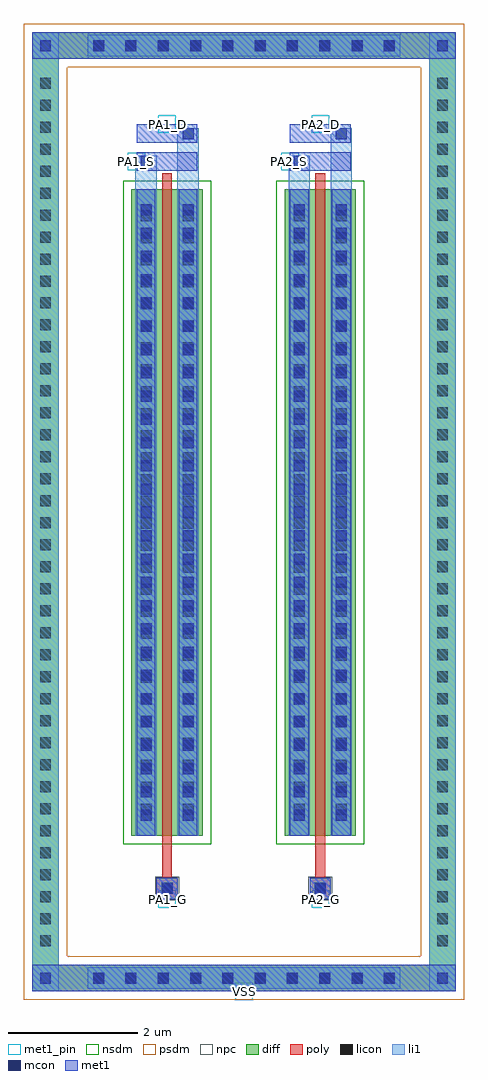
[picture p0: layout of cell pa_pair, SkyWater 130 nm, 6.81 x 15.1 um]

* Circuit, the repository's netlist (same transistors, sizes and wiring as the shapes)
.subckt pa_pair PA1_D PA1_G PA1_S PA2_D PA2_G PA2_S VSS
XPA1 PA1_D PA1_G PA1_S VSS sky130_fd_pr__nfet_01v8 W=10.0 L=0.15 nf=1 m=1
XPA2 PA2_D PA2_G PA2_S VSS sky130_fd_pr__nfet_01v8 W=10.0 L=0.15 nf=1 m=1
.ends pa_pair

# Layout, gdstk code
import gdstk
lib = gdstk.Library(unit=1e-6, precision=5e-09)
def R(c, l, rs):  # rectangles x0, y0, x1, y1
    for r in rs: c.add(gdstk.rectangle(r[:2], r[2:], *l))
def A(c, l, x, y, w, h, nx, ny, dx, dy):  # array of equal rectangles
    R(c, l, [(x+i*dx, y+j*dy, x+i*dx+w, y+j*dy+h) for i in range(nx) for j in range(ny)])
def P(c, l, *ps):  # polygons
    for p in ps: c.add(gdstk.Polygon(p, *l))
diff = (65, 20)
poly = (66, 20)
licon = (66, 44)
li1 = (67, 20)
mcon = (67, 44)
met1_pin = (68, 16)
met1 = (68, 20)
nsdm = (93, 44)
psdm = (94, 20)
npc = (95, 20)

pa_pair = lib.new_cell('pa_pair')
A(pa_pair, diff, -0.585, -7.405, 0.41, 0.41, 10, 2, 0.5, 14.42)
A(pa_pair, diff, -1.405, -6.825, 0.41, 0.41, 1, 40, 0, 0.34)
A(pa_pair, diff, 4.735, -6.825, 0.41, 0.41, 1, 40, 0, 0.34)
R(pa_pair, diff, [(-0.585,-7.405,4.325,-6.995), (-1.405,-6.825,-0.995,6.845), (4.735,-6.825,5.145,6.845), (0.13,-5,1.23,5), (2.5,-5,3.6,5), (-0.585,7.015,4.325,7.425)])
P(pa_pair, diff, [(5.145,7.425),(-1.405,7.425),(-1.405,-6.995),(-0.995,-6.995),(-0.995,7.015),(4.735,7.015),(4.735,-6.995),(-0.995,-6.995),(-1.405,-6.995),(-1.405,-7.405),(5.145,-7.405)])
R(pa_pair, poly, [(0.515,-5.98,0.845,-5.65), (0.515,-5.98,0.845,-5.65), (2.885,-5.98,3.215,-5.65), (2.885,-5.98,3.215,-5.65), (0.605,-5.65,0.755,-5.25), (2.975,-5.65,3.125,-5.25), (0.605,-5.25,0.755,5.25), (2.975,-5.25,3.125,5.25)])
A(pa_pair, licon, -0.465, -7.285, 0.17, 0.17, 10, 2, 0.5, 14.42)
A(pa_pair, licon, -1.285, -6.705, 0.17, 0.17, 1, 40, 0, 0.34)
A(pa_pair, licon, 4.855, -6.705, 0.17, 0.17, 1, 40, 0, 0.34)
A(pa_pair, licon, 0.27, -4.675, 0.17, 0.17, 1, 28, 0, 0.34)
A(pa_pair, licon, 0.92, -4.675, 0.17, 0.17, 1, 28, 0, 0.34)
A(pa_pair, licon, 2.64, -4.675, 0.17, 0.17, 1, 28, 0, 0.34)
A(pa_pair, licon, 3.29, -4.675, 0.17, 0.17, 1, 28, 0, 0.34)
R(pa_pair, licon, [(0.595,-5.9,0.765,-5.73), (2.965,-5.9,3.135,-5.73)])
A(pa_pair, li1, -0.545, -7.365, 0.33, 0.33, 10, 2, 0.5, 14.42)
A(pa_pair, li1, -1.365, -6.785, 0.33, 0.33, 1, 40, 0, 0.34)
A(pa_pair, li1, 4.775, -6.785, 0.33, 0.33, 1, 40, 0, 0.34)
A(pa_pair, li1, 0.27, -4.765, 0.17, 0.17, 1, 27, 0, 0.36)
A(pa_pair, li1, 0.92, -4.765, 0.17, 0.17, 1, 27, 0, 0.36)
A(pa_pair, li1, 2.64, -4.765, 0.17, 0.17, 1, 27, 0, 0.36)
A(pa_pair, li1, 3.29, -4.765, 0.17, 0.17, 1, 27, 0, 0.36)
A(pa_pair, li1, 0.19, -4.755, 0.33, 0.33, 1, 28, 0, 0.34)
A(pa_pair, li1, 0.84, -4.755, 0.33, 0.33, 1, 28, 0, 0.34)
A(pa_pair, li1, 2.56, -4.755, 0.33, 0.33, 1, 28, 0, 0.34)
A(pa_pair, li1, 3.21, -4.755, 0.33, 0.33, 1, 28, 0, 0.34)
R(pa_pair, li1, [(-1.405,-7.405,-0.995,-6.995), (4.735,-7.405,5.145,-6.995), (-0.545,-7.365,4.285,-7.035), (-1.285,-7.285,-1.115,-7.115), (-1.285,-7.285,-1.115,-7.115), (4.855,-7.285,5.025,-7.115), (4.855,-7.285,5.025,-7.115), (-1.405,-6.995,-0.995,7.015), (4.735,-6.995,5.145,7.015), (0.515,-5.98,0.845,-5.65), (2.885,-5.98,3.215,-5.65), (0.19,-5,0.52,5), (0.84,-5,1.17,5), (2.56,-5,2.89,5), (3.21,-5,3.54,5), (0.27,-4.765,0.44,4.765), (0.92,-4.765,1.09,4.765), (2.64,-4.765,2.81,4.765), (3.29,-4.765,3.46,4.765), (0.19,5,0.52,5.515), (0.84,5,1.17,5.945), (2.56,5,2.89,5.515), (3.21,5,3.54,5.945), (0.27,5.345,0.44,5.515), (2.64,5.345,2.81,5.515), (0.92,5.775,1.09,5.945), (3.29,5.775,3.46,5.945), (-1.405,7.015,-0.995,7.425), (4.735,7.015,5.145,7.425), (-0.545,7.055,4.285,7.385), (-1.285,7.135,-1.115,7.305), (-1.285,7.135,-1.115,7.305), (4.855,7.135,5.025,7.305), (4.855,7.135,5.025,7.305)])
A(pa_pair, mcon, -0.465, -7.285, 0.17, 0.17, 10, 2, 0.5, 14.42)
A(pa_pair, mcon, 0.27, -4.765, 0.17, 0.17, 1, 27, 0, 0.36)
A(pa_pair, mcon, 0.92, -4.765, 0.17, 0.17, 1, 27, 0, 0.36)
A(pa_pair, mcon, 2.64, -4.765, 0.17, 0.17, 1, 27, 0, 0.36)
A(pa_pair, mcon, 3.29, -4.765, 0.17, 0.17, 1, 27, 0, 0.36)
R(pa_pair, mcon, [(-1.285,-7.285,-1.115,-7.115), (4.855,-7.285,5.025,-7.115), (0.595,-5.9,0.765,-5.73), (2.965,-5.9,3.135,-5.73), (0.27,5.345,0.44,5.515), (2.64,5.345,2.81,5.515), (0.92,5.775,1.09,5.945), (3.29,5.775,3.46,5.945), (-1.285,7.135,-1.115,7.305), (4.855,7.135,5.025,7.305)])
R(pa_pair, met1_pin, [(1.735,-7.54,2.005,-7.27), (0.545,-6.115,0.815,-5.845), (2.915,-6.115,3.185,-5.845), (0.075,5.295,0.345,5.565), (2.445,5.295,2.715,5.565), (0.545,5.87,0.815,6.14), (2.915,5.87,3.185,6.14)])
A(pa_pair, met1, -0.525, -7.345, 0.29, 0.29, 10, 2, 0.5, 14.42)
A(pa_pair, met1, 0.21, -4.825, 0.29, 0.29, 1, 27, 0, 0.36)
A(pa_pair, met1, 0.86, -4.825, 0.29, 0.29, 1, 27, 0, 0.36)
A(pa_pair, met1, 2.58, -4.825, 0.29, 0.29, 1, 27, 0, 0.36)
A(pa_pair, met1, 3.23, -4.825, 0.29, 0.29, 1, 27, 0, 0.36)
R(pa_pair, met1, [(-1.405,-7.405,-0.995,-6.995), (-1.405,-7.405,-0.995,-6.995), (-0.995,-7.405,4.735,-6.995), (4.735,-7.405,5.145,-6.995), (4.735,-7.405,5.145,-6.995), (-1.345,-7.345,-1.055,-7.055), (4.795,-7.345,5.085,-7.055), (0.515,-5.98,0.845,-5.65), (2.885,-5.98,3.215,-5.65), (0.535,-5.96,0.825,-5.67), (2.905,-5.96,3.195,-5.67), (0.21,-5,0.5,5), (0.86,-5,1.15,5), (2.58,-5,2.87,5), (3.23,-5,3.52,5), (0.21,5.285,0.5,5.575), (0.21,5.285,1.15,5.575), (2.58,5.285,2.87,5.575), (2.58,5.285,3.52,5.575), (0.21,5.715,1.15,6.005), (0.86,5.715,1.15,6.005), (2.58,5.715,3.52,6.005), (3.23,5.715,3.52,6.005), (-1.405,7.015,-0.995,7.425), (-1.405,7.015,-0.995,7.425), (-0.995,7.015,4.735,7.425), (4.735,7.015,5.145,7.425), (4.735,7.015,5.145,7.425), (-1.345,7.075,-1.055,7.365), (4.795,7.075,5.085,7.365)])
R(pa_pair, nsdm, [(0,-5.13,1.36,5.13), (2.37,-5.13,3.73,5.13)])
P(pa_pair, psdm, [(5.275,7.555),(-1.535,7.555),(-1.535,-6.865),(-0.865,-6.865),(-0.865,6.885),(4.605,6.885),(4.605,-6.865),(-0.865,-6.865),(-1.535,-6.865),(-1.535,-7.535),(5.275,-7.535)])
R(pa_pair, npc, [(0.495,-6,0.865,-5.63), (0.495,-6,0.865,-5.63), (2.865,-6,3.235,-5.63), (2.865,-6,3.235,-5.63)])
pa_pair.add(gdstk.Label('VSS', (1.87,-7.405), layer=68, texttype=5))
pa_pair.add(gdstk.Label('PA2_G', (3.05,-5.98), layer=68, texttype=5))
pa_pair.add(gdstk.Label('PA2_S', (2.58,5.43), layer=68, texttype=5))
pa_pair.add(gdstk.Label('PA2_D', (3.05,6.005), layer=68, texttype=5))
pa_pair.add(gdstk.Label('PA1_G', (0.68,-5.98), layer=68, texttype=5))
pa_pair.add(gdstk.Label('PA1_S', (0.21,5.43), layer=68, texttype=5))
pa_pair.add(gdstk.Label('PA1_D', (0.68,6.005), layer=68, texttype=5))

lib.write_gds('pa_pair.gds')
